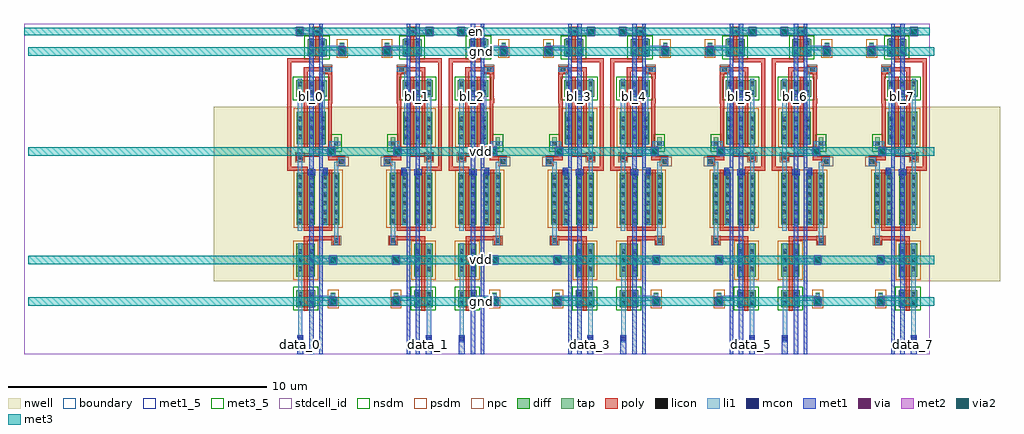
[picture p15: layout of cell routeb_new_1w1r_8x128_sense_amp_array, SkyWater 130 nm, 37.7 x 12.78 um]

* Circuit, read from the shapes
.subckt routeb_new_1w1r_8x128_sense_amp_array bl_0 bl_1 bl_2 bl_3 bl_4 bl_5 bl_6 bl_7 br_0 br_1 br_2 br_3 br_4 br_5 br_6 br_7 data_0 data_1 data_2 data_3 data_4 data_5 data_6 data_7 en gnd vdd
XM1 n1 n2 n3 gnd sky130_fd_pr__nfet_01v8 w=0.65 l=0.15
XM2 gnd n2 data_0 gnd sky130_fd_pr__nfet_01v8 w=0.65 l=0.15
XM3 n2 n3 n1 gnd sky130_fd_pr__nfet_01v8 w=0.65 l=0.15
XM4 gnd en n1 gnd sky130_fd_pr__nfet_01v8 w=0.65 l=0.15
XM5 n4 n5 n6 gnd sky130_fd_pr__nfet_01v8 w=0.65 l=0.15
XM6 n4 en gnd gnd sky130_fd_pr__nfet_01v8 w=0.65 l=0.15
XM7 data_1 n6 gnd gnd sky130_fd_pr__nfet_01v8 w=0.65 l=0.15
XM8 n5 n6 n4 gnd sky130_fd_pr__nfet_01v8 w=0.65 l=0.15
XM9 n7 n8 n9 gnd sky130_fd_pr__nfet_01v8 w=0.65 l=0.15
XM10 gnd n8 data_2 gnd sky130_fd_pr__nfet_01v8 w=0.65 l=0.15
XM11 n8 n9 n7 gnd sky130_fd_pr__nfet_01v8 w=0.65 l=0.15
XM12 gnd en n7 gnd sky130_fd_pr__nfet_01v8 w=0.65 l=0.15
XM13 n10 n11 n12 gnd sky130_fd_pr__nfet_01v8 w=0.65 l=0.15
XM14 n10 en gnd gnd sky130_fd_pr__nfet_01v8 w=0.65 l=0.15
XM15 data_3 n12 gnd gnd sky130_fd_pr__nfet_01v8 w=0.65 l=0.15
XM16 n11 n12 n10 gnd sky130_fd_pr__nfet_01v8 w=0.65 l=0.15
XM17 n13 n14 n15 gnd sky130_fd_pr__nfet_01v8 w=0.65 l=0.15
XM18 gnd n14 data_4 gnd sky130_fd_pr__nfet_01v8 w=0.65 l=0.15
XM19 n14 n15 n13 gnd sky130_fd_pr__nfet_01v8 w=0.65 l=0.15
XM20 gnd en n13 gnd sky130_fd_pr__nfet_01v8 w=0.65 l=0.15
XM21 n16 n17 n18 gnd sky130_fd_pr__nfet_01v8 w=0.65 l=0.15
XM22 n16 en gnd gnd sky130_fd_pr__nfet_01v8 w=0.65 l=0.15
XM23 data_5 n18 gnd gnd sky130_fd_pr__nfet_01v8 w=0.65 l=0.15
XM24 n17 n18 n16 gnd sky130_fd_pr__nfet_01v8 w=0.65 l=0.15
XM25 n19 n20 n21 gnd sky130_fd_pr__nfet_01v8 w=0.65 l=0.15
XM26 gnd n20 data_6 gnd sky130_fd_pr__nfet_01v8 w=0.65 l=0.15
XM27 n20 n21 n19 gnd sky130_fd_pr__nfet_01v8 w=0.65 l=0.15
XM28 gnd en n19 gnd sky130_fd_pr__nfet_01v8 w=0.65 l=0.15
XM29 n22 n23 n24 gnd sky130_fd_pr__nfet_01v8 w=0.65 l=0.15
XM30 n22 en gnd gnd sky130_fd_pr__nfet_01v8 w=0.65 l=0.15
XM31 data_7 n24 gnd gnd sky130_fd_pr__nfet_01v8 w=0.65 l=0.15
XM32 n23 n24 n22 gnd sky130_fd_pr__nfet_01v8 w=0.65 l=0.15
XM33 bl_0 en n3 vdd sky130_fd_pr__pfet_01v8 w=2 l=0.15
XM34 vdd n2 n3 vdd sky130_fd_pr__pfet_01v8 w=1.26 l=0.15
XM35 vdd n2 data_0 vdd sky130_fd_pr__pfet_01v8 w=1.26 l=0.15
XM36 n2 n3 vdd vdd sky130_fd_pr__pfet_01v8 w=1.26 l=0.15
XM37 n2 en br_0 vdd sky130_fd_pr__pfet_01v8 w=2 l=0.15
XM38 br_1 en n6 vdd sky130_fd_pr__pfet_01v8 w=2 l=0.15
XM39 vdd n5 n6 vdd sky130_fd_pr__pfet_01v8 w=1.26 l=0.15
XM40 data_1 n6 vdd vdd sky130_fd_pr__pfet_01v8 w=1.26 l=0.15
XM41 n5 en bl_1 vdd sky130_fd_pr__pfet_01v8 w=2 l=0.15
XM42 n5 n6 vdd vdd sky130_fd_pr__pfet_01v8 w=1.26 l=0.15
XM43 bl_2 en n9 vdd sky130_fd_pr__pfet_01v8 w=2 l=0.15
XM44 vdd n8 n9 vdd sky130_fd_pr__pfet_01v8 w=1.26 l=0.15
XM45 vdd n8 data_2 vdd sky130_fd_pr__pfet_01v8 w=1.26 l=0.15
XM46 n8 n9 vdd vdd sky130_fd_pr__pfet_01v8 w=1.26 l=0.15
XM47 n8 en br_2 vdd sky130_fd_pr__pfet_01v8 w=2 l=0.15
XM48 br_3 en n12 vdd sky130_fd_pr__pfet_01v8 w=2 l=0.15
XM49 vdd n11 n12 vdd sky130_fd_pr__pfet_01v8 w=1.26 l=0.15
XM50 data_3 n12 vdd vdd sky130_fd_pr__pfet_01v8 w=1.26 l=0.15
XM51 n11 en bl_3 vdd sky130_fd_pr__pfet_01v8 w=2 l=0.15
XM52 n11 n12 vdd vdd sky130_fd_pr__pfet_01v8 w=1.26 l=0.15
XM53 bl_4 en n15 vdd sky130_fd_pr__pfet_01v8 w=2 l=0.15
XM54 vdd n14 n15 vdd sky130_fd_pr__pfet_01v8 w=1.26 l=0.15
XM55 vdd n14 data_4 vdd sky130_fd_pr__pfet_01v8 w=1.26 l=0.15
XM56 n14 n15 vdd vdd sky130_fd_pr__pfet_01v8 w=1.26 l=0.15
XM57 n14 en br_4 vdd sky130_fd_pr__pfet_01v8 w=2 l=0.15
XM58 br_5 en n18 vdd sky130_fd_pr__pfet_01v8 w=2 l=0.15
XM59 vdd n17 n18 vdd sky130_fd_pr__pfet_01v8 w=1.26 l=0.15
XM60 data_5 n18 vdd vdd sky130_fd_pr__pfet_01v8 w=1.26 l=0.15
XM61 n17 en bl_5 vdd sky130_fd_pr__pfet_01v8 w=2 l=0.15
XM62 n17 n18 vdd vdd sky130_fd_pr__pfet_01v8 w=1.26 l=0.15
XM63 bl_6 en n21 vdd sky130_fd_pr__pfet_01v8 w=2 l=0.15
XM64 vdd n20 n21 vdd sky130_fd_pr__pfet_01v8 w=1.26 l=0.15
XM65 vdd n20 data_6 vdd sky130_fd_pr__pfet_01v8 w=1.26 l=0.15
XM66 n20 n21 vdd vdd sky130_fd_pr__pfet_01v8 w=1.26 l=0.15
XM67 n20 en br_6 vdd sky130_fd_pr__pfet_01v8 w=2 l=0.15
XM68 br_7 en n24 vdd sky130_fd_pr__pfet_01v8 w=2 l=0.15
XM69 vdd n23 n24 vdd sky130_fd_pr__pfet_01v8 w=1.26 l=0.15
XM70 data_7 n24 vdd vdd sky130_fd_pr__pfet_01v8 w=1.26 l=0.15
XM71 n23 en bl_7 vdd sky130_fd_pr__pfet_01v8 w=2 l=0.15
XM72 n23 n24 vdd vdd sky130_fd_pr__pfet_01v8 w=1.26 l=0.15
.ends

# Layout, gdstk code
from math import pi, radians
import gdstk
lib = gdstk.Library(unit=1e-6, precision=1e-09)
def R(c, l, rs):  # rectangles x0, y0, x1, y1
    for r in rs: c.add(gdstk.rectangle(r[:2], r[2:], *l))
def A(c, l, x, y, w, h, nx, ny, dx, dy):  # array of equal rectangles
    R(c, l, [(x+i*dx, y+j*dy, x+i*dx+w, y+j*dy+h) for i in range(nx) for j in range(ny)])
nwell = (64, 20)
diff = (65, 20)
tap = (65, 44)
poly = (66, 20)
licon = (66, 44)
li1 = (67, 20)
mcon = (67, 44)
met1_5 = (68, 5)
met1 = (68, 20)
via = (68, 44)
met2 = (69, 20)
via2 = (69, 44)
met3_5 = (70, 5)
met3 = (70, 20)
stdcell_id = (81, 4)
nsdm = (93, 44)
psdm = (94, 20)
npc = (95, 20)
boundary = (235, 4)

sky130_fd_bd_sram__openr = lib.new_cell('sky130_fd_bd_sram__openram_sense_amp')
R(sky130_fd_bd_sram__openr, nwell, [(-2.705,2.82,4.685,9.57)])
R(sky130_fd_bd_sram__openr, diff, [(0.49,1.83,1.21,2.48), (0.49,3.01,1.2,4.27), (0.5,5.01,1.19,7.01), (1.46,5.01,2.15,7.01), (0.5,8.12,1.63,9.38), (0.48,9.945,1.65,10.595), (0.92,11.525,1.65,12.175)])
R(sky130_fd_bd_sram__openr, tap, [(1.82,1.915,1.99,2.375), (1.94,7.95,2.11,8.38), (2.17,11.585,2.34,12.045)])
R(sky130_fd_bd_sram__openr, poly, [(0.78,1.68,0.93,4.42), (1.89,4.24,2.16,4.42), (0.78,4.42,2.16,4.57), (0.77,4.78,1.88,4.93), (0.77,4.93,0.92,7.09), (1.73,4.93,1.88,7.14), (0.13,7.09,0.92,7.24), (0.13,7.24,0.28,11.295), (2.15,7.28,2.37,7.29), (2.1,7.29,2.37,7.51), (0.54,7.45,0.71,7.48), (0.49,7.48,0.76,7.63), (1.71,7.51,2.37,7.66), (0.49,7.63,1.36,7.78), (1.71,7.66,1.86,9.71), (1.21,7.78,1.36,10.725), (0.77,7.99,0.92,10.935), (1.71,9.71,1.88,9.88), (1.725,9.88,1.875,10.64), (1.71,10.64,1.88,10.81), (1.71,10.81,1.86,10.865), (1.53,10.865,1.86,10.935), (0.77,10.935,1.86,11.085), (1.53,11.085,1.86,11.135), (0.13,11.295,1.36,11.445), (1.21,11.445,1.36,12.3), (1.2,12.3,1.37,12.33), (1.15,12.33,1.42,12.6), (1.2,12.6,1.37,12.63)])
A(sky130_fd_bd_sram__openr, licon, 0.55, 3.215, 0.17, 0.17, 1, 3, 0, 0.34)
A(sky130_fd_bd_sram__openr, licon, 0.99, 3.215, 0.17, 0.17, 1, 3, 0, 0.34)
A(sky130_fd_bd_sram__openr, licon, 0.54, 5.075, 0.17, 0.17, 1, 6, 0, 0.34)
A(sky130_fd_bd_sram__openr, licon, 0.98, 5.075, 0.17, 0.17, 1, 6, 0, 0.34)
A(sky130_fd_bd_sram__openr, licon, 1.5, 5.075, 0.17, 0.17, 1, 6, 0, 0.34)
A(sky130_fd_bd_sram__openr, licon, 1.94, 5.075, 0.17, 0.17, 1, 6, 0, 0.34)
A(sky130_fd_bd_sram__openr, licon, 0.54, 8.325, 0.17, 0.17, 3, 3, 0.44, 0.34)
A(sky130_fd_bd_sram__openr, licon, 0.54, 10.025, 0.17, 0.17, 3, 2, 0.44, 0.34)
R(sky130_fd_bd_sram__openr, licon, [(0.55,1.9,0.72,2.07), (0.99,1.9,1.16,2.07), (1.82,2.085,1.99,2.255), (0.55,2.24,0.72,2.41), (0.99,2.24,1.16,2.41), (1.94,4.32,2.11,4.49), (2.15,7.36,2.32,7.53), (0.54,7.53,0.71,7.7), (1.94,8.07,2.11,8.24), (1.61,10.915,1.78,11.085), (0.98,11.59,1.15,11.76), (1.42,11.6,1.59,11.77), (2.17,11.755,2.34,11.925), (0.98,11.93,1.15,12.1), (1.42,11.94,1.59,12.11), (1.2,12.38,1.37,12.55)])
R(sky130_fd_bd_sram__openr, li1, [(0.55,0.475,0.72,4.29), (0.98,1.8,1.16,2.08), (1.82,1.915,1.99,2.08), (0.98,2.08,1.99,2.26), (0.98,2.26,1.16,2.5), (1.82,2.26,1.99,2.335), (0.99,2.99,1.16,3.56), (0.99,3.56,1.99,3.73), (0.99,3.73,1.16,4.29), (1.94,4.24,2.11,7.28), (0.54,4.78,0.71,10.65), (0.98,4.97,1.15,7.12), (1.5,4.99,1.67,7.15), (1.94,7.28,2.37,7.45), (2.1,7.45,2.37,7.61), (0.98,7.76,1.93,7.93), (0.98,7.93,1.15,9.4), (1.76,7.93,1.93,8.07), (1.76,8.07,2.19,8.24), (1.42,8.1,1.59,10.915), (0.98,9.925,1.15,12.21), (1.42,10.915,1.87,11.085), (1.42,11.505,1.59,11.755), (2.17,11.585,2.34,11.755), (1.42,11.755,2.34,11.925), (1.42,11.925,1.59,12.21), (2.17,11.925,2.34,12.005), (0.53,12.38,1.45,12.55), (0.53,12.55,0.7,12.56)])
R(sky130_fd_bd_sram__openr, mcon, [(0.55,0.52,0.72,0.69), (1.82,1.915,1.99,2.085), (1.82,3.56,1.99,3.73), (0.98,6.95,1.15,7.12), (1.5,6.98,1.67,7.15), (1.76,7.76,1.93,7.93), (2.17,11.585,2.34,11.755), (0.53,12.385,0.7,12.555)])
R(sky130_fd_bd_sram__openr, met1_5, [(0.52,0,0.75,0.75), (1.79,1.855,2.02,2.225), (1.79,3.46,2.02,3.84), (0.98,7.15,1.15,12.78), (1.36,7.21,1.5,12.78), (1.69,7.67,2,8.01), (2.14,11.525,2.37,11.895), (0.47,12.32,0.76,12.62)])
R(sky130_fd_bd_sram__openr, met1, [(0.52,0,0.75,0.75), (0.52,0,0.75,0.75), (0.98,0,1.15,6.92), (1.36,0,1.5,6.92), (1.79,1.855,2.02,2.225), (1.79,1.855,2.02,2.225), (1.79,3.46,2.02,3.84), (1.79,3.46,2.02,3.84), (0.92,6.92,1.21,7.15), (1.36,6.92,1.7,7.21), (0.98,7.15,1.15,12.78), (0.98,7.15,1.15,12.78), (1.36,7.21,1.5,12.78), (1.36,7.21,1.5,12.78), (1.69,7.67,2,8.01), (1.69,7.67,2,8.01), (2.14,11.525,2.37,11.895), (2.14,11.525,2.37,11.895), (0.47,12.32,0.76,12.62), (0.47,12.32,0.76,12.62)])
R(sky130_fd_bd_sram__openr, nsdm, [(0.365,1.705,1.335,2.605), (1.815,7.825,2.235,8.505), (0.355,9.82,1.775,10.72), (0.795,11.4,1.775,12.3)])
R(sky130_fd_bd_sram__openr, psdm, [(1.695,1.79,2.115,2.5), (0.365,2.885,1.325,4.395), (0.375,4.885,2.275,7.135), (0.375,7.995,1.755,9.505), (2.045,11.46,2.465,12.17)])
R(sky130_fd_bd_sram__openr, npc, [(1.84,4.22,2.21,4.59), (2.05,7.26,2.5,7.63), (0.44,7.43,0.81,7.8), (1.51,10.815,1.88,11.185), (1.1,12.28,1.47,12.65)])
R(sky130_fd_bd_sram__openr, boundary, [(0,0,2.5,12.78)])
sky130_fd_bd_sram__openr.add(gdstk.Label('DOUT', (0.61,0.285), layer=68, texttype=5))
sky130_fd_bd_sram__openr.add(gdstk.Label('BL', (1.07,12.74), layer=68, texttype=5))
sky130_fd_bd_sram__openr.add(gdstk.Label('BR', (1.43,12.73), layer=68, texttype=5))
sky130_fd_bd_sram__openr.add(gdstk.Label('EN', (0.5,12.45), layer=68, texttype=5))
sky130_fd_bd_sram__openr.add(gdstk.Label('GND', (2.25,11.555), layer=68, texttype=5))
sky130_fd_bd_sram__openr.add(gdstk.Label('GND', (1.9,1.885), layer=68, texttype=5))
sky130_fd_bd_sram__openr.add(gdstk.Label('VDD', (1.97,7.84), layer=68, texttype=5))
sky130_fd_bd_sram__openr.add(gdstk.Label('VDD', (1.89,3.5), layer=68, texttype=5))
sky130_fd_bd_sram__openr.add(gdstk.Label('bl', (1.065,9.965), layer=68, texttype=5))
sky130_fd_bd_sram__openr.add(gdstk.Label('br', (1.43,9.995), layer=68, texttype=5))
sky130_fd_bd_sram__openr.add(gdstk.Label('dout', (0.635,0.375), layer=68, texttype=5))
sky130_fd_bd_sram__openr.add(gdstk.Label('en', (0.615,12.47), layer=68, texttype=5))
sky130_fd_bd_sram__openr.add(gdstk.Label('vdd', (1.845,7.84), layer=68, texttype=5))
sky130_fd_bd_sram__openr.add(gdstk.Label('vdd', (1.905,3.65), layer=68, texttype=5))
sky130_fd_bd_sram__openr.add(gdstk.Label('gnd', (2.255,11.71), layer=68, texttype=5))
sky130_fd_bd_sram__openr.add(gdstk.Label('gnd', (1.905,2.04), layer=68, texttype=5))

routeb_new_1w1r_8x128_co = lib.new_cell('routeb_new_1w1r_8x128_contact_18')
R(routeb_new_1w1r_8x128_co, met1, [(0,0.03,0.32,0.29)])
R(routeb_new_1w1r_8x128_co, via, [(0.085,0.085,0.235,0.235)])
R(routeb_new_1w1r_8x128_co, met2, [(0.03,0,0.29,0.32)])
R(routeb_new_1w1r_8x128_co, stdcell_id, [(0,0,0.32,0.32)])
R(routeb_new_1w1r_8x128_co, boundary, [(0,0,0.32,0.32)])

c_routeb_new_1w1r_8x128_co = lib.new_cell('routeb_new_1w1r_8x128_contact_21')
R(c_routeb_new_1w1r_8x128_co, met2, [(0.025,0,0.305,0.37)])
R(c_routeb_new_1w1r_8x128_co, via2, [(0.065,0.085,0.265,0.285)])
R(c_routeb_new_1w1r_8x128_co, met3, [(0,0.02,0.33,0.35)])
R(c_routeb_new_1w1r_8x128_co, stdcell_id, [(0,0,0.33,0.37)])
R(c_routeb_new_1w1r_8x128_co, boundary, [(0,0,0.33,0.37)])

routeb_new_1w1r_8x128_se = lib.new_cell('routeb_new_1w1r_8x128_sense_amp_array')
R(routeb_new_1w1r_8x128_se, met1_5, [(10.555,0,10.785,0.75), (15.525,0,15.755,0.75), (16.795,0,17.025,0.75), (21.765,0,21.995,0.75), (23.035,0,23.265,0.75), (28.005,0,28.235,0.75), (29.275,0,29.505,0.75), (34.245,0,34.475,0.75), (11.015,7.15,11.185,12.78), (15.125,7.15,15.295,12.78), (17.255,7.15,17.425,12.78), (21.365,7.15,21.535,12.78), (23.495,7.15,23.665,12.78), (27.605,7.15,27.775,12.78), (29.735,7.15,29.905,12.78), (33.845,7.15,34.015,12.78), (11.395,7.21,11.535,12.78), (14.775,7.21,14.915,12.78), (17.635,7.21,17.775,12.78), (21.015,7.21,21.155,12.78), (23.875,7.21,24.015,12.78), (27.255,7.21,27.395,12.78), (30.115,7.21,30.255,12.78), (33.495,7.21,33.635,12.78)])
R(routeb_new_1w1r_8x128_se, met1, [(10.555,0,10.785,0.75), (15.525,0,15.755,0.75), (16.795,0,17.025,0.75), (21.765,0,21.995,0.75), (23.035,0,23.265,0.75), (28.005,0,28.235,0.75), (29.275,0,29.505,0.75), (34.245,0,34.475,0.75), (11.78,1.91,12.1,2.17), (14.21,1.91,14.53,2.17), (18.02,1.91,18.34,2.17), (20.45,1.91,20.77,2.17), (24.26,1.91,24.58,2.17), (26.69,1.91,27.01,2.17), (30.5,1.91,30.82,2.17), (32.93,1.91,33.25,2.17), (11.78,3.52,12.1,3.78), (14.21,3.52,14.53,3.78), (18.02,3.52,18.34,3.78), (20.45,3.52,20.77,3.78), (24.26,3.52,24.58,3.78), (26.69,3.52,27.01,3.78), (30.5,3.52,30.82,3.78), (32.93,3.52,33.25,3.78), (11.015,7.15,11.185,12.78), (15.125,7.15,15.295,12.78), (17.255,7.15,17.425,12.78), (21.365,7.15,21.535,12.78), (23.495,7.15,23.665,12.78), (27.605,7.15,27.775,12.78), (29.735,7.15,29.905,12.78), (33.845,7.15,34.015,12.78), (11.395,7.21,11.535,12.78), (14.775,7.21,14.915,12.78), (17.635,7.21,17.775,12.78), (21.015,7.21,21.155,12.78), (23.875,7.21,24.015,12.78), (27.255,7.21,27.395,12.78), (30.115,7.21,30.255,12.78), (33.495,7.21,33.635,12.78), (11.72,7.71,12.04,7.97), (14.27,7.71,14.59,7.97), (17.96,7.71,18.28,7.97), (20.51,7.71,20.83,7.97), (24.2,7.71,24.52,7.97), (26.75,7.71,27.07,7.97), (30.44,7.71,30.76,7.97), (32.99,7.71,33.31,7.97), (12.13,11.58,12.45,11.84), (13.86,11.58,14.18,11.84), (18.37,11.58,18.69,11.84), (20.1,11.58,20.42,11.84), (24.61,11.58,24.93,11.84), (26.34,11.58,26.66,11.84), (30.85,11.58,31.17,11.84), (32.58,11.58,32.9,11.84)])
R(routeb_new_1w1r_8x128_se, met2, [(11.8,1.92,12.08,2.165), (14.23,1.92,14.51,2.165), (18.04,1.92,18.32,2.165), (20.47,1.92,20.75,2.165), (24.28,1.92,24.56,2.165), (26.71,1.92,26.99,2.165), (30.52,1.92,30.8,2.165), (32.95,1.92,33.23,2.165), (11.8,3.53,12.08,3.775), (14.23,3.53,14.51,3.775), (18.04,3.53,18.32,3.775), (20.47,3.53,20.75,3.775), (24.28,3.53,24.56,3.775), (26.71,3.53,26.99,3.775), (30.52,3.53,30.8,3.775), (32.95,3.53,33.23,3.775), (11.74,7.72,12.02,7.965), (14.29,7.72,14.57,7.965), (17.98,7.72,18.26,7.965), (20.53,7.72,20.81,7.965), (24.22,7.72,24.5,7.965), (26.77,7.72,27.05,7.965), (30.46,7.72,30.74,7.965), (33.01,7.72,33.29,7.965), (12.15,11.59,12.43,11.835), (13.88,11.59,14.16,11.835), (18.39,11.59,18.67,11.835), (20.12,11.59,20.4,11.835), (24.63,11.59,24.91,11.835), (26.36,11.59,26.64,11.835), (30.87,11.59,31.15,11.835), (32.6,11.59,32.88,11.835), (10.51,12.35,10.79,12.595), (15.52,12.35,15.8,12.595), (16.75,12.35,17.03,12.595), (21.76,12.35,22.04,12.595), (22.99,12.35,23.27,12.595), (28,12.35,28.28,12.595), (29.23,12.35,29.51,12.595), (34.24,12.35,34.52,12.595)])
R(routeb_new_1w1r_8x128_se, met3_5, [(0.165,1.875,35.16,2.205), (0.165,3.485,35.16,3.815), (0.165,7.675,35.16,8.005), (0.165,11.545,35.16,11.875), (0,12.32,34.995,12.62)])
R(routeb_new_1w1r_8x128_se, met3, [(0.165,1.875,35.16,2.205), (0.165,3.485,35.16,3.815), (0.165,7.675,35.16,8.005), (0.165,11.545,35.16,11.875), (0,12.32,34.995,12.62)])
R(routeb_new_1w1r_8x128_se, stdcell_id, [(0,0,34.995,12.78)])
R(routeb_new_1w1r_8x128_se, boundary, [(0,0,34.995,12.78)])
routeb_new_1w1r_8x128_se.add(gdstk.Reference(sky130_fd_bd_sram__openr, (10.035,0)))
routeb_new_1w1r_8x128_se.add(gdstk.Reference(sky130_fd_bd_sram__openr, (16.275,0), rotation=pi, x_reflection=True))
routeb_new_1w1r_8x128_se.add(gdstk.Reference(sky130_fd_bd_sram__openr, (16.275,0)))
routeb_new_1w1r_8x128_se.add(gdstk.Reference(sky130_fd_bd_sram__openr, (22.515,0), rotation=pi, x_reflection=True))
routeb_new_1w1r_8x128_se.add(gdstk.Reference(sky130_fd_bd_sram__openr, (22.515,0)))
routeb_new_1w1r_8x128_se.add(gdstk.Reference(sky130_fd_bd_sram__openr, (28.755,0), rotation=pi, x_reflection=True))
routeb_new_1w1r_8x128_se.add(gdstk.Reference(sky130_fd_bd_sram__openr, (28.755,0)))
routeb_new_1w1r_8x128_se.add(gdstk.Reference(sky130_fd_bd_sram__openr, (34.995,0), rotation=pi, x_reflection=True))
routeb_new_1w1r_8x128_se.add(gdstk.Reference(routeb_new_1w1r_8x128_co, (11.72,7.68)))
routeb_new_1w1r_8x128_se.add(gdstk.Reference(c_routeb_new_1w1r_8x128_co, (11.715,7.655)))
routeb_new_1w1r_8x128_se.add(gdstk.Reference(routeb_new_1w1r_8x128_co, (14.27,7.68)))
routeb_new_1w1r_8x128_se.add(gdstk.Reference(c_routeb_new_1w1r_8x128_co, (14.265,7.655)))
routeb_new_1w1r_8x128_se.add(gdstk.Reference(routeb_new_1w1r_8x128_co, (17.96,7.68)))
routeb_new_1w1r_8x128_se.add(gdstk.Reference(c_routeb_new_1w1r_8x128_co, (17.955,7.655)))
routeb_new_1w1r_8x128_se.add(gdstk.Reference(routeb_new_1w1r_8x128_co, (20.51,7.68)))
routeb_new_1w1r_8x128_se.add(gdstk.Reference(c_routeb_new_1w1r_8x128_co, (20.505,7.655)))
routeb_new_1w1r_8x128_se.add(gdstk.Reference(routeb_new_1w1r_8x128_co, (24.2,7.68)))
routeb_new_1w1r_8x128_se.add(gdstk.Reference(c_routeb_new_1w1r_8x128_co, (24.195,7.655)))
routeb_new_1w1r_8x128_se.add(gdstk.Reference(routeb_new_1w1r_8x128_co, (26.75,7.68)))
routeb_new_1w1r_8x128_se.add(gdstk.Reference(c_routeb_new_1w1r_8x128_co, (26.745,7.655)))
routeb_new_1w1r_8x128_se.add(gdstk.Reference(routeb_new_1w1r_8x128_co, (30.44,7.68)))
routeb_new_1w1r_8x128_se.add(gdstk.Reference(c_routeb_new_1w1r_8x128_co, (30.435,7.655)))
routeb_new_1w1r_8x128_se.add(gdstk.Reference(routeb_new_1w1r_8x128_co, (32.99,7.68)))
routeb_new_1w1r_8x128_se.add(gdstk.Reference(c_routeb_new_1w1r_8x128_co, (32.985,7.655)))
routeb_new_1w1r_8x128_se.add(gdstk.Reference(routeb_new_1w1r_8x128_co, (11.78,3.49)))
routeb_new_1w1r_8x128_se.add(gdstk.Reference(c_routeb_new_1w1r_8x128_co, (11.775,3.465)))
routeb_new_1w1r_8x128_se.add(gdstk.Reference(routeb_new_1w1r_8x128_co, (14.21,3.49)))
routeb_new_1w1r_8x128_se.add(gdstk.Reference(c_routeb_new_1w1r_8x128_co, (14.205,3.465)))
routeb_new_1w1r_8x128_se.add(gdstk.Reference(routeb_new_1w1r_8x128_co, (18.02,3.49)))
routeb_new_1w1r_8x128_se.add(gdstk.Reference(c_routeb_new_1w1r_8x128_co, (18.015,3.465)))
routeb_new_1w1r_8x128_se.add(gdstk.Reference(routeb_new_1w1r_8x128_co, (20.45,3.49)))
routeb_new_1w1r_8x128_se.add(gdstk.Reference(c_routeb_new_1w1r_8x128_co, (20.445,3.465)))
routeb_new_1w1r_8x128_se.add(gdstk.Reference(routeb_new_1w1r_8x128_co, (24.26,3.49)))
routeb_new_1w1r_8x128_se.add(gdstk.Reference(c_routeb_new_1w1r_8x128_co, (24.255,3.465)))
routeb_new_1w1r_8x128_se.add(gdstk.Reference(routeb_new_1w1r_8x128_co, (26.69,3.49)))
routeb_new_1w1r_8x128_se.add(gdstk.Reference(c_routeb_new_1w1r_8x128_co, (26.685,3.465)))
routeb_new_1w1r_8x128_se.add(gdstk.Reference(routeb_new_1w1r_8x128_co, (30.5,3.49)))
routeb_new_1w1r_8x128_se.add(gdstk.Reference(c_routeb_new_1w1r_8x128_co, (30.495,3.465)))
routeb_new_1w1r_8x128_se.add(gdstk.Reference(routeb_new_1w1r_8x128_co, (32.93,3.49)))
routeb_new_1w1r_8x128_se.add(gdstk.Reference(c_routeb_new_1w1r_8x128_co, (32.925,3.465)))
routeb_new_1w1r_8x128_se.add(gdstk.Reference(routeb_new_1w1r_8x128_co, (12.13,11.55)))
routeb_new_1w1r_8x128_se.add(gdstk.Reference(c_routeb_new_1w1r_8x128_co, (12.125,11.525)))
routeb_new_1w1r_8x128_se.add(gdstk.Reference(routeb_new_1w1r_8x128_co, (13.86,11.55)))
routeb_new_1w1r_8x128_se.add(gdstk.Reference(c_routeb_new_1w1r_8x128_co, (13.855,11.525)))
routeb_new_1w1r_8x128_se.add(gdstk.Reference(routeb_new_1w1r_8x128_co, (18.37,11.55)))
routeb_new_1w1r_8x128_se.add(gdstk.Reference(c_routeb_new_1w1r_8x128_co, (18.365,11.525)))
routeb_new_1w1r_8x128_se.add(gdstk.Reference(routeb_new_1w1r_8x128_co, (20.1,11.55)))
routeb_new_1w1r_8x128_se.add(gdstk.Reference(c_routeb_new_1w1r_8x128_co, (20.095,11.525)))
routeb_new_1w1r_8x128_se.add(gdstk.Reference(routeb_new_1w1r_8x128_co, (24.61,11.55)))
routeb_new_1w1r_8x128_se.add(gdstk.Reference(c_routeb_new_1w1r_8x128_co, (24.605,11.525)))
routeb_new_1w1r_8x128_se.add(gdstk.Reference(routeb_new_1w1r_8x128_co, (26.34,11.55)))
routeb_new_1w1r_8x128_se.add(gdstk.Reference(c_routeb_new_1w1r_8x128_co, (26.335,11.525)))
routeb_new_1w1r_8x128_se.add(gdstk.Reference(routeb_new_1w1r_8x128_co, (30.85,11.55)))
routeb_new_1w1r_8x128_se.add(gdstk.Reference(c_routeb_new_1w1r_8x128_co, (30.845,11.525)))
routeb_new_1w1r_8x128_se.add(gdstk.Reference(routeb_new_1w1r_8x128_co, (32.58,11.55)))
routeb_new_1w1r_8x128_se.add(gdstk.Reference(c_routeb_new_1w1r_8x128_co, (32.575,11.525)))
routeb_new_1w1r_8x128_se.add(gdstk.Reference(routeb_new_1w1r_8x128_co, (11.78,1.88)))
routeb_new_1w1r_8x128_se.add(gdstk.Reference(c_routeb_new_1w1r_8x128_co, (11.775,1.855)))
routeb_new_1w1r_8x128_se.add(gdstk.Reference(routeb_new_1w1r_8x128_co, (14.21,1.88)))
routeb_new_1w1r_8x128_se.add(gdstk.Reference(c_routeb_new_1w1r_8x128_co, (14.205,1.855)))
routeb_new_1w1r_8x128_se.add(gdstk.Reference(routeb_new_1w1r_8x128_co, (18.02,1.88)))
routeb_new_1w1r_8x128_se.add(gdstk.Reference(c_routeb_new_1w1r_8x128_co, (18.015,1.855)))
routeb_new_1w1r_8x128_se.add(gdstk.Reference(routeb_new_1w1r_8x128_co, (20.45,1.88)))
routeb_new_1w1r_8x128_se.add(gdstk.Reference(c_routeb_new_1w1r_8x128_co, (20.445,1.855)))
routeb_new_1w1r_8x128_se.add(gdstk.Reference(routeb_new_1w1r_8x128_co, (24.26,1.88)))
routeb_new_1w1r_8x128_se.add(gdstk.Reference(c_routeb_new_1w1r_8x128_co, (24.255,1.855)))
routeb_new_1w1r_8x128_se.add(gdstk.Reference(routeb_new_1w1r_8x128_co, (26.69,1.88)))
routeb_new_1w1r_8x128_se.add(gdstk.Reference(c_routeb_new_1w1r_8x128_co, (26.685,1.855)))
routeb_new_1w1r_8x128_se.add(gdstk.Reference(routeb_new_1w1r_8x128_co, (30.5,1.88)))
routeb_new_1w1r_8x128_se.add(gdstk.Reference(c_routeb_new_1w1r_8x128_co, (30.495,1.855)))
routeb_new_1w1r_8x128_se.add(gdstk.Reference(routeb_new_1w1r_8x128_co, (32.93,1.88)))
routeb_new_1w1r_8x128_se.add(gdstk.Reference(c_routeb_new_1w1r_8x128_co, (32.925,1.855)))
routeb_new_1w1r_8x128_se.add(gdstk.Reference(routeb_new_1w1r_8x128_co, (10.49,12.31)))
routeb_new_1w1r_8x128_se.add(gdstk.Reference(c_routeb_new_1w1r_8x128_co, (10.485,12.285)))
routeb_new_1w1r_8x128_se.add(gdstk.Reference(routeb_new_1w1r_8x128_co, (15.5,12.31)))
routeb_new_1w1r_8x128_se.add(gdstk.Reference(c_routeb_new_1w1r_8x128_co, (15.495,12.285)))
routeb_new_1w1r_8x128_se.add(gdstk.Reference(routeb_new_1w1r_8x128_co, (16.73,12.31)))
routeb_new_1w1r_8x128_se.add(gdstk.Reference(c_routeb_new_1w1r_8x128_co, (16.725,12.285)))
routeb_new_1w1r_8x128_se.add(gdstk.Reference(routeb_new_1w1r_8x128_co, (21.74,12.31)))
routeb_new_1w1r_8x128_se.add(gdstk.Reference(c_routeb_new_1w1r_8x128_co, (21.735,12.285)))
routeb_new_1w1r_8x128_se.add(gdstk.Reference(routeb_new_1w1r_8x128_co, (22.97,12.31)))
routeb_new_1w1r_8x128_se.add(gdstk.Reference(c_routeb_new_1w1r_8x128_co, (22.965,12.285)))
routeb_new_1w1r_8x128_se.add(gdstk.Reference(routeb_new_1w1r_8x128_co, (27.98,12.31)))
routeb_new_1w1r_8x128_se.add(gdstk.Reference(c_routeb_new_1w1r_8x128_co, (27.975,12.285)))
routeb_new_1w1r_8x128_se.add(gdstk.Reference(routeb_new_1w1r_8x128_co, (29.21,12.31)))
routeb_new_1w1r_8x128_se.add(gdstk.Reference(c_routeb_new_1w1r_8x128_co, (29.205,12.285)))
routeb_new_1w1r_8x128_se.add(gdstk.Reference(routeb_new_1w1r_8x128_co, (34.22,12.31)))
routeb_new_1w1r_8x128_se.add(gdstk.Reference(c_routeb_new_1w1r_8x128_co, (34.215,12.285)))
routeb_new_1w1r_8x128_se.add(gdstk.Label('bl_0', (11.1,9.965), layer=68, texttype=5))
routeb_new_1w1r_8x128_se.add(gdstk.Label('br_0', (11.465,9.995), layer=68, texttype=5))
routeb_new_1w1r_8x128_se.add(gdstk.Label('data_0', (10.67,0.375), layer=68, texttype=5))
routeb_new_1w1r_8x128_se.add(gdstk.Label('bl_1', (15.21,9.965), layer=68, texttype=5))
routeb_new_1w1r_8x128_se.add(gdstk.Label('br_1', (14.845,9.995), layer=68, texttype=5))
routeb_new_1w1r_8x128_se.add(gdstk.Label('data_1', (15.64,0.375), layer=68, texttype=5))
routeb_new_1w1r_8x128_se.add(gdstk.Label('bl_2', (17.34,9.965), layer=68, texttype=5))
routeb_new_1w1r_8x128_se.add(gdstk.Label('br_2', (17.705,9.995), layer=68, texttype=5))
routeb_new_1w1r_8x128_se.add(gdstk.Label('data_2', (16.91,0.375), layer=68, texttype=5))
routeb_new_1w1r_8x128_se.add(gdstk.Label('bl_3', (21.45,9.965), layer=68, texttype=5))
routeb_new_1w1r_8x128_se.add(gdstk.Label('br_3', (21.085,9.995), layer=68, texttype=5))
routeb_new_1w1r_8x128_se.add(gdstk.Label('data_3', (21.88,0.375), layer=68, texttype=5))
routeb_new_1w1r_8x128_se.add(gdstk.Label('bl_4', (23.58,9.965), layer=68, texttype=5))
routeb_new_1w1r_8x128_se.add(gdstk.Label('br_4', (23.945,9.995), layer=68, texttype=5))
routeb_new_1w1r_8x128_se.add(gdstk.Label('data_4', (23.15,0.375), layer=68, texttype=5))
routeb_new_1w1r_8x128_se.add(gdstk.Label('bl_5', (27.69,9.965), layer=68, texttype=5))
routeb_new_1w1r_8x128_se.add(gdstk.Label('br_5', (27.325,9.995), layer=68, texttype=5))
routeb_new_1w1r_8x128_se.add(gdstk.Label('data_5', (28.12,0.375), layer=68, texttype=5))
routeb_new_1w1r_8x128_se.add(gdstk.Label('bl_6', (29.82,9.965), layer=68, texttype=5))
routeb_new_1w1r_8x128_se.add(gdstk.Label('br_6', (30.185,9.995), layer=68, texttype=5))
routeb_new_1w1r_8x128_se.add(gdstk.Label('data_6', (29.39,0.375), layer=68, texttype=5))
routeb_new_1w1r_8x128_se.add(gdstk.Label('bl_7', (33.93,9.965), layer=68, texttype=5))
routeb_new_1w1r_8x128_se.add(gdstk.Label('br_7', (33.565,9.995), layer=68, texttype=5))
routeb_new_1w1r_8x128_se.add(gdstk.Label('data_7', (34.36,0.375), layer=68, texttype=5))
routeb_new_1w1r_8x128_se.add(gdstk.Label('vdd', (17.662,3.65), layer=70, texttype=5))
routeb_new_1w1r_8x128_se.add(gdstk.Label('vdd', (17.662,7.84), layer=70, texttype=5))
routeb_new_1w1r_8x128_se.add(gdstk.Label('gnd', (17.662,2.04), layer=70, texttype=5))
routeb_new_1w1r_8x128_se.add(gdstk.Label('gnd', (17.662,11.71), layer=70, texttype=5))
routeb_new_1w1r_8x128_se.add(gdstk.Label('en', (17.498,12.47), layer=70, texttype=5))

lib.write_gds('routeb_new_1w1r_8x128_sense_amp_array.gds')
